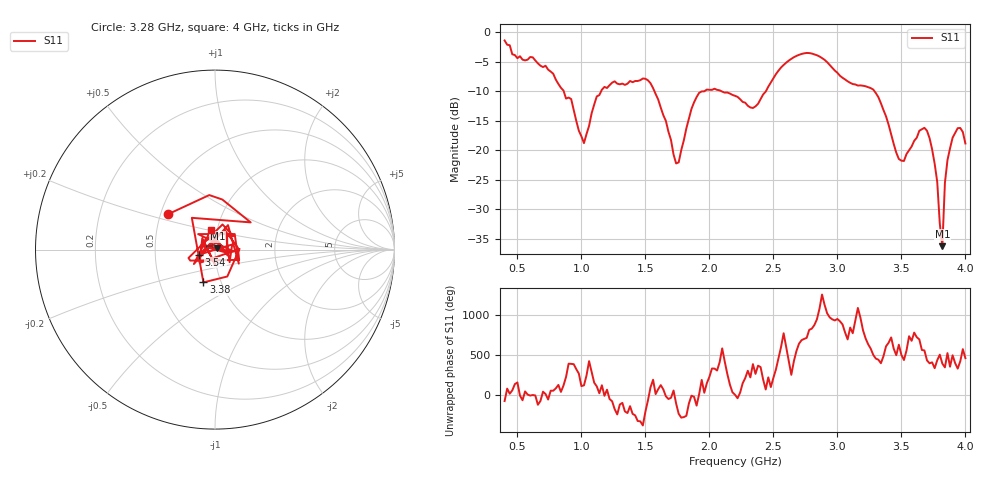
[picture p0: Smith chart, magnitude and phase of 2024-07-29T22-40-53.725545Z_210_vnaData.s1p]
!Created with skrf (http://scikit-rf.org).
# Hz S RI R 50.0
!freq ReS11 ImS11
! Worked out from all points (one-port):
!   181 points, 400 MHz to 4 GHz, reference 50 ohm
!   lowest |S11| = -36.3 dB at 3.82 GHz (marker M1), VSWR 1.03, Z = 51.3 + j0.847 ohm
!   |S11| at or under -10 dB: 1.571 GHz to 1.961 GHz (390.1 MHz wide, 22.1 % of centre); 2.094 GHz to 2.441 GHz (346.8 MHz wide, 15.3 % of centre); 3.29 GHz to end of sweep (the widest 3 of 4)
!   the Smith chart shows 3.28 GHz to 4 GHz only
!   S11 on the Smith chart (normalised r, x): 3.28 GHz: 0.55, +0.24; 3.38 GHz: 0.83, -0.31; 3.54 GHz: 0.84, -0.05; 4 GHz: 0.93, +0.21
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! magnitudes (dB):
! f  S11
! 400 MHz  -1.4
! 860 MHz  -9.9
! 920 MHz  -11.3
! 1.02 GHz  -18.8
! 1.12 GHz  -10.9
! 1.3 GHz  -8.8
! 1.54 GHz  -8.6
! 1.76 GHz  -22.1
! 1.86 GHz  -13.0
! 1.92 GHz  -10.3
! 2.2 GHz  -10.8
! 2.36 GHz  -12.6
! 2.66 GHz  -4.2
! 2.84 GHz  -3.9
! 3.1 GHz  -8.6
! 3.28 GHz  -9.7
! 3.38 GHz  -14.3
! 3.48 GHz  -21.5
! 3.54 GHz  -20.6
! 3.56 GHz  -20.0
! 3.66 GHz  -16.4
! 3.72 GHz  -17.9
! 3.78 GHz  -25.4
! 3.82 GHz  -36.3
! 3.84 GHz  -25.5
! 3.88 GHz  -19.7
! 3.94 GHz  -16.3
! 4 GHz  -18.9
